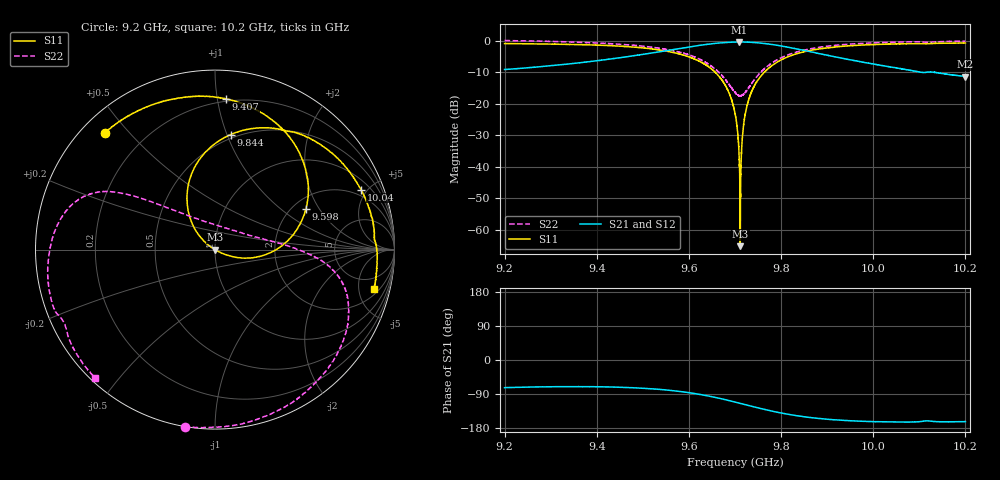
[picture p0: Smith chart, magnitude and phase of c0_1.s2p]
!Agilent Technologies,N5242A,MY51221714,A.09.90.19
!Agilent N5242A: A.09.90.19
!Date: Tuesday, March 26, 2024 15:29:01
!Correction: S11(Full 2 Port(1,2))
!S21(Full 2 Port(1,2))
!S12(Full 2 Port(1,2))
!S22(Full 2 Port(1,2))
!S2P File: Measurements: S11, S21, S12, S22:
# Hz S  dB  R 50
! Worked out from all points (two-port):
!   16001 points, 9.2 GHz to 10.2 GHz, reference 50 ohm
!   highest |S21| = -0.45 dB at 9.709 GHz (marker M1); lowest = -11.4 dB at 10.2 GHz (marker M2)
!   |S21| within 3 dB of the highest: 9.541091 GHz to 9.541187 GHz (96.47 kHz wide, 0.00101 % of centre); 9.541 GHz to 9.86 GHz (318.9 MHz wide, 3.29 % of centre)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
!   lowest |S11| = -65.3 dB at 9.711 GHz (marker M3), VSWR 1.00, Z = 50.1 - j0.00613 ohm
!   |S11| at or under -10 dB: 9.656435 GHz to 9.656443 GHz (7.684 kHz wide, 7.96e-05 % of centre); 9.657 GHz to 9.764 GHz (107.5 MHz wide, 1.11 % of centre)
!   |S22| runs from -17.6 to 0.0 dB; largest |S21 - S12| = 0.011
!   S11 on the Smith chart (normalised r, x): 9.2 GHz: 0.07, +0.43; 9.407 GHz: 0.18, +1.06; 9.598 GHz: 2.35, +1.54; 9.844 GHz: 0.47, +1.03; 10.04 GHz: 1.55, +4.55; 10.2 GHz: 2.68, -7.13
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9.2e9  -0.97 133.4  -9.20 -72.9  -9.18 -73.5  0.01 -99.6
9.366688e9  -1.31 95.9  -7.00 -70.4  -6.99 -70.9  -0.59 -55.0
9.406625e9  -1.49 85.7  -6.29 -70.7  -6.29 -71.4  -0.83 -45.0
9.533375e9  -2.95 48.5  -3.65 -77.4  -3.63 -77.9  -2.37 -17.1
9.5985e9  -5.11 24.1  -2.10 -86.1  -2.09 -86.6  -4.49 -5.9
9.666812e9  -11.61 -7.6  -0.77 -101.3  -0.77 -101.8  -10.39 9.8
9.6875e9  -16.80 -18.3  -0.55 -107.2  -0.54 -107.7  -14.03 24.7
9.7e9  -23.08 -25.6  -0.48 -111.0  -0.48 -111.4  -16.41 44.8
9.7045e9  -27.44 -27.9  -0.48 -112.4  -0.46 -112.8  -17.13 55.2
9.708625e9  -35.26 -29.6  -0.45 -113.6  -0.46 -114.1  -17.44 65.7
9.711312e9  -65.29 -6.5  -0.46 -114.5  -0.46 -115.0  -17.51 72.8
9.714562e9  -33.61 148.1  -0.47 -115.4  -0.46 -115.9  -17.45 82.1
9.718312e9  -27.31 146.5  -0.47 -116.6  -0.47 -117.1  -17.14 91.5
9.723562e9  -22.33 142.5  -0.49 -118.2  -0.48 -118.8  -16.19 103.4
9.743625e9  -13.96 130.6  -0.65 -124.4  -0.65 -124.9  -12.11 129.2
9.783688e9  -7.58 109.6  -1.34 -135.7  -1.34 -136.2  -6.78 143.7
9.844e9  -3.79 82.3  -2.96 -148.7  -2.96 -149.2  -3.24 151.9
9.866688e9  -3.07 73.4  -3.64 -152.3  -3.66 -152.7  -2.55 155.0
9.934375e9  -1.82 50.4  -5.68 -159.3  -5.68 -159.7  -1.30 166.1
1.003338e10  -1.13 23.1  -8.29 -163.4  -8.29 -163.9  -0.56 -173.7
1.003638e10  -1.12 22.4  -8.37 -163.5  -8.36 -164.0  -0.55 -173.0
1.02e10  -0.79 -14.0  -11.42 -162.5  -11.42 -163.0  -0.20 -133.0
